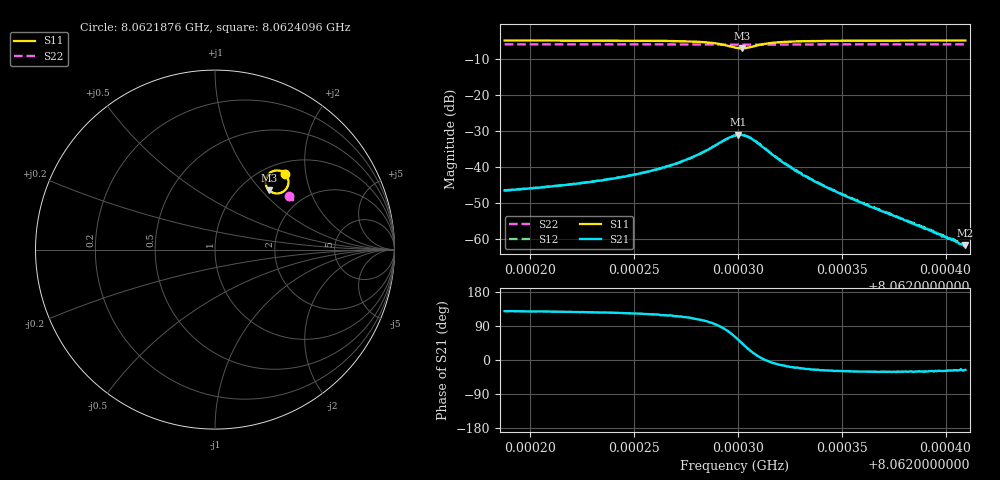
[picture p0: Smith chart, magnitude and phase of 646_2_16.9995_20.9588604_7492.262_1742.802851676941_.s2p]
#  HZ  S  RI  R  50.00
! Rohde & Schwarz Vector Network Analyzer
! Rohde-Schwarz,ZNB20-2Port,1311601062101988,3.16
! Created: UTC 3/20/2024, 11:21:03 PM
! freq[Hz]  re:S11  im:S11  re:S21  im:S21  re:S12  im:S12  re:S22  im:S22
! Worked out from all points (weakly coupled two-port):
!   401 points, 8.0621876 GHz to 8.0624096 GHz, reference 50 ohm
!   highest |S21| = -30.99 dB at 8.0623002 GHz (marker M1); lowest = -61.7 dB at 8.0624096 GHz (marker M2)
!   lowest |S11| = -7.0 dB at 8.0623019 GHz (marker M3), VSWR 2.62, Z = 66.9 + j55.3 ohm
!   |S11| at or under -10 dB: nowhere
!   |S22| runs from -6.0 to -5.9 dB; largest |S21 - S12| = 0.0014
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8.06218759e9  0.391 0.4225  -0.00299 0.00371  -0.00277 0.00392  0.4098 0.3013
8.06222477e9  0.3966 0.4158  -0.00359 0.00485  -0.0033 0.0051  0.411 0.2991
8.06224364e9  0.4006 0.4099  -0.00405 0.00601  -0.00372 0.00628  0.412 0.2979
8.06226195e9  0.4056 0.3989  -0.00467 0.00816  -0.00418 0.00857  0.4124 0.2963
8.06227139e9  0.4086 0.3885  -0.00491 0.0105  -0.00432 0.0108  0.4127 0.2956
8.06227749e9  0.4096 0.3779  -0.00481 0.0125  -0.00409 0.013  0.4129 0.2948
8.06228748e9  0.4029 0.3484  -0.00258 0.0187  -0.00145 0.0188  0.4125 0.2931
8.06229303e9  0.3824 0.3245  0.00255 0.0232  0.00372 0.0231  0.4116 0.2921
8.06229858e9  0.3341 0.3138  0.0132 0.0241  0.0144 0.0236  0.4096 0.292
8.06230024e9  0.3164 0.3196  0.0169 0.0226  0.018 0.0218  0.4089 0.2925
8.06230191e9  0.3009 0.3307  0.0201 0.0196  0.021 0.0189  0.4086 0.293
8.0623069e9  0.2814 0.3797  0.0229 0.00868  0.0236 0.00763  0.4085 0.2951
8.06231412e9  0.3036 0.4255  0.0171 -0.000618  0.0173 -0.00164  0.4102 0.2964
8.06232133e9  0.3279 0.4385  0.0114 -0.00287  0.0116 -0.00368  0.4117 0.2964
8.06233576e9  0.3542 0.4405  0.00601 -0.0028  0.00595 -0.0032  0.4132 0.2953
8.06235518e9  0.3689 0.4366  0.00313 -0.00181  0.00307 -0.00205  0.4144 0.2942
8.06237294e9  0.376 0.4334  0.00189 -0.00114  0.00191 -0.00129  0.4154 0.293
8.06239792e9  0.3819 0.43  0.00098 -0.000545  0.000978 -0.000634  0.4164 0.2915
8.06240069e9  0.3823 0.4296  0.000937 -0.000521  0.000893 -0.000568  0.4164 0.2912
8.06240291e9  0.3828 0.4295  0.000866 -0.000458  0.000864 -0.000532  0.4165 0.2914
8.06240624e9  0.3834 0.4289  0.000798 -0.000403  0.000793 -0.000485  0.4168 0.291
8.06240957e9  0.3839 0.4287  0.000742 -0.000363  0.000707 -0.000408  0.4168 0.2909
